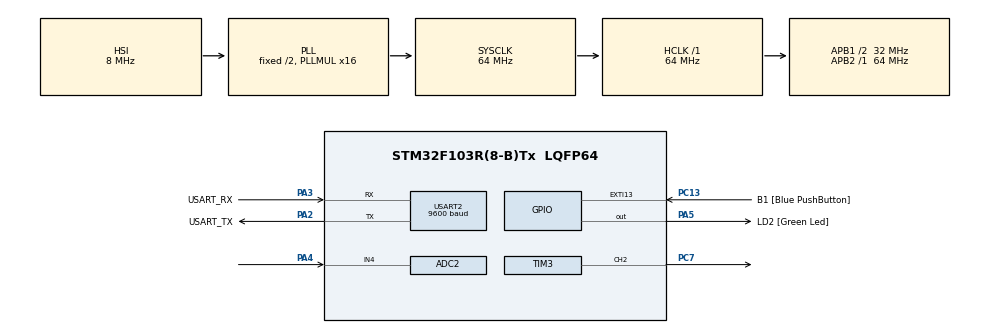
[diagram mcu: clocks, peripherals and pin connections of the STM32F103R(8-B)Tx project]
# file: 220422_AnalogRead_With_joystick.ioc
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ADC2.Channel-2\#ChannelRegularConversion=ADC_CHANNEL_4
ADC2.ContinuousConvMode=ENABLE
ADC2.NbrOfConversionFlag=1
ADC2.Rank-2\#ChannelRegularConversion=1
ADC2.SamplingTime-2\#ChannelRegularConversion=ADC_SAMPLETIME_1CYCLE_5
Mcu.Family=STM32F1
Mcu.Name=STM32F103R(8-B)Tx
Mcu.Package=LQFP64
NVIC.EXTI15_10_IRQn=true\:0\:0\:false\:false\:true\:true\:true\:true
NVIC.PriorityGroup=NVIC_PRIORITYGROUP_4
PA13.GPIO_Label=TMS
PA13.Mode=Serial_Wire
PA13.Signal=SYS_JTMS-SWDIO
PA14.GPIO_Label=TCK
PA14.Mode=Serial_Wire
PA14.Signal=SYS_JTCK-SWCLK
PA2.GPIO_Label=USART_TX
PA2.GPIO_Mode=GPIO_MODE_AF_PP
PA2.GPIO_PuPd=GPIO_NOPULL
PA2.GPIO_Speed=GPIO_SPEED_FREQ_LOW
PA2.Mode=Asynchronous
PA2.Signal=USART2_TX
PA3.GPIO_Label=USART_RX
PA3.GPIO_Mode=GPIO_MODE_AF_PP
PA3.GPIO_PuPd=GPIO_NOPULL
PA3.GPIO_Speed=GPIO_SPEED_FREQ_LOW
PA3.Mode=Asynchronous
PA3.Signal=USART2_RX
PA4.Signal=ADCx_IN4
PA5.GPIO_Label=LD2 [Green Led]
PA5.GPIO_ModeDefaultOutputPP=GPIO_MODE_OUTPUT_PP
PA5.GPIO_PuPd=GPIO_NOPULL
PA5.GPIO_Speed=GPIO_SPEED_FREQ_LOW
PA5.Signal=GPIO_Output
PB3.GPIO_Label=SWO
PB3.Signal=SYS_JTDO-TRACESWO
PC13-TAMPER-RTC.GPIO_Label=B1 [Blue PushButton]
PC13-TAMPER-RTC.GPIO_PuPd=GPIO_NOPULL
PC13-TAMPER-RTC.Signal=GPXTI13
PC14-OSC32_IN.Mode=LSE-External-Oscillator
PC14-OSC32_IN.Signal=RCC_OSC32_IN
PC15-OSC32_OUT.Mode=LSE-External-Oscillator
PC15-OSC32_OUT.Signal=RCC_OSC32_OUT
PC7.Signal=S_TIM3_CH2
PD0-OSC_IN.Mode=HSE-External-Clock-Source
PD0-OSC_IN.Signal=RCC_OSC_IN
PD1-OSC_OUT.Mode=HSE-External-Clock-Source
PD1-OSC_OUT.Signal=RCC_OSC_OUT
ProjectManager.HeapSize=0x200
ProjectManager.StackSize=0x400
ProjectManager.TargetToolchain=STM32CubeIDE
RCC.ADCPresc=RCC_ADCPCLK2_DIV8
RCC.AHBFreq_Value=64000000
RCC.APB1CLKDivider=RCC_HCLK_DIV2
RCC.APB1Freq_Value=32000000
RCC.APB1TimFreq_Value=64000000
RCC.APB2Freq_Value=64000000
RCC.APB2TimFreq_Value=64000000
RCC.HCLKFreq_Value=64000000
RCC.PLLMUL=RCC_PLL_MUL16
RCC.RTCClockSelection=RCC_RTCCLKSOURCE_LSE
RCC.SYSCLKFreq_VALUE=64000000
RCC.SYSCLKSource=RCC_SYSCLKSOURCE_PLLCLK
RCC.USBFreq_Value=64000000
SH.ADCx_IN4.0=ADC2_IN4,IN4
SH.S_TIM3_CH2.0=TIM3_CH2,PWM Generation2 CH2
TIM3.Channel-PWM\ Generation2\ CH2=TIM_CHANNEL_2
TIM3.Period=20000-1
TIM3.Prescaler=64
TIM3.Pulse-PWM\ Generation2\ CH2=1500-1
USART2.BaudRate=9600
USART2.VirtualMode=VM_ASYNC
board=NUCLEO-F103RB

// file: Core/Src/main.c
/* USER CODE BEGIN Header */
/**
  ******************************************************************************
  * @file           : main.c
  * @brief          : Main program body
  ******************************************************************************
  * @attention
  *
  * Copyright (c) 2022 STMicroelectronics.
  * All rights reserved.
  *
  * This software is licensed under terms that can be found in the LICENSE file
  * in the root directory of this software component.
  * If no LICENSE file comes with this software, it is provided AS-IS.
  *
  ******************************************************************************
  */
/* USER CODE END Header */
#include "main.h"

 ADC_HandleTypeDef hadc2;

TIM_HandleTypeDef htim3;

UART_HandleTypeDef huart2;

void SystemClock_Config(void);
static void MX_GPIO_Init(void);
static void MX_USART2_UART_Init(void);
static void MX_ADC2_Init(void);
static void MX_TIM3_Init(void);
/* USER CODE BEGIN PFP */
#ifdef __GNUC__
/* With GCC, small printf (option LD Linker->Libraries->Small printf
   set to 'Yes') calls __io_putchar() */
#define PUTCHAR_PROTOTYPE int __io_putchar(int ch)
#else
#define PUTCHAR_PROTOTYPE int fputc(int ch, FILE *f)
#endif /* __GNUC__ */
/* USER CODE BEGIN PFP */

/* USER CODE END PFP */

int main(void)
{
  /* USER CODE BEGIN 1 */
	uint32_t adcResult = 0;
	uint8_t RxBuffer[0xFF];
  /* USER CODE END 1 */

  /* MCU Configuration--------------------------------------------------------*/

  /* Reset of all peripherals, Initializes the Flash interface and the Systick. */
  HAL_Init();

  /* Configure the system clock */
  SystemClock_Config();

  /* Initialize all configured peripherals */
  MX_GPIO_Init();
  MX_USART2_UART_Init();
  MX_ADC2_Init();
  MX_TIM3_Init();
  /* USER CODE BEGIN 2 */
  HAL_TIM_PWM_Start(&htim3, TIM_CHANNEL_2);
  /* USER CODE END 2 */

  /* Infinite loop */
  /* USER CODE BEGIN WHILE */
  while (1)
  {

	  int num1;

	  HAL_ADC_Start(&hadc2);
	  HAL_ADC_PollForConversion(&hadc2, 100); // adc값을 받아?��?��까�? ??�?.
	  adcResult = HAL_ADC_GetValue(&hadc2); // 0~4095 // 2048 ~3000?
	  HAL_ADC_Stop(&hadc2);
	 // printf("%d\n\r",adcResult);

	  num1=adcResult/2; //0~1024. ?��?�� M3?�� FPU�? ?��?���?�? ?��?�� 계산 불�??��. ?��?��?�� �?. Float, Double ?��?���? ?��?��.
	  if(num1<1024){
		  num1= 1024-num1;
		  htim3.Instance->CCR2 = 1500-num1;
		  printf("%d\n\r",1500-num1);
	  }
	  else{
		  num1= num1-1024;
		  htim3.Instance->CCR2 = 1500+num1;
		  printf("%d\n\r",1500+num1);
	  }
	  htim3.Instance->CCR2 = 1500+num1;

    /* USER CODE END WHILE */

  }
}

void SystemClock_Config(void)
{
  RCC_OscInitTypeDef RCC_OscInitStruct = {0};
  RCC_ClkInitTypeDef RCC_ClkInitStruct = {0};
  RCC_PeriphCLKInitTypeDef PeriphClkInit = {0};

  /** Initializes the RCC Oscillators according to the specified parameters
  * in the RCC_OscInitTypeDef structure.
  */
  RCC_OscInitStruct.OscillatorType = RCC_OSCILLATORTYPE_HSI;
  RCC_OscInitStruct.HSIState = RCC_HSI_ON;
  RCC_OscInitStruct.HSICalibrationValue = RCC_HSICALIBRATION_DEFAULT;
  RCC_OscInitStruct.PLL.PLLState = RCC_PLL_ON;
  RCC_OscInitStruct.PLL.PLLSource = RCC_PLLSOURCE_HSI_DIV2;
  RCC_OscInitStruct.PLL.PLLMUL = RCC_PLL_MUL16;
  if (HAL_RCC_OscConfig(&RCC_OscInitStruct) != HAL_OK)
  {
    Error_Handler();
  }

  /** Initializes the CPU, AHB and APB buses clocks
  */
  RCC_ClkInitStruct.ClockType = RCC_CLOCKTYPE_HCLK|RCC_CLOCKTYPE_SYSCLK
                              |RCC_CLOCKTYPE_PCLK1|RCC_CLOCKTYPE_PCLK2;
  RCC_ClkInitStruct.SYSCLKSource = RCC_SYSCLKSOURCE_PLLCLK;
  RCC_ClkInitStruct.AHBCLKDivider = RCC_SYSCLK_DIV1;
  RCC_ClkInitStruct.APB1CLKDivider = RCC_HCLK_DIV2;
  RCC_ClkInitStruct.APB2CLKDivider = RCC_HCLK_DIV1;

  if (HAL_RCC_ClockConfig(&RCC_ClkInitStruct, FLASH_LATENCY_2) != HAL_OK)
  {
    Error_Handler();
  }
  PeriphClkInit.PeriphClockSelection = RCC_PERIPHCLK_ADC;
  PeriphClkInit.AdcClockSelection = RCC_ADCPCLK2_DIV8;
  if (HAL_RCCEx_PeriphCLKConfig(&PeriphClkInit) != HAL_OK)
  {
    Error_Handler();
  }
}

static void MX_ADC2_Init(void)
{

  ADC_ChannelConfTypeDef sConfig = {0};

  /** Common config
  */
  hadc2.Instance = ADC2;
  hadc2.Init.ScanConvMode = ADC_SCAN_DISABLE;
  hadc2.Init.ContinuousConvMode = ENABLE;
  hadc2.Init.DiscontinuousConvMode = DISABLE;
  hadc2.Init.ExternalTrigConv = ADC_SOFTWARE_START;
  hadc2.Init.DataAlign = ADC_DATAALIGN_RIGHT;
  hadc2.Init.NbrOfConversion = 1;
  if (HAL_ADC_Init(&hadc2) != HAL_OK)
  {
    Error_Handler();
  }

  /** Configure Regular Channel
  */
  sConfig.Channel = ADC_CHANNEL_4;
  sConfig.Rank = ADC_REGULAR_RANK_1;
  sConfig.SamplingTime = ADC_SAMPLETIME_1CYCLE_5;
  if (HAL_ADC_ConfigChannel(&hadc2, &sConfig) != HAL_OK)
  {
    Error_Handler();
  }

}

static void MX_TIM3_Init(void)
{

  TIM_MasterConfigTypeDef sMasterConfig = {0};
  TIM_OC_InitTypeDef sConfigOC = {0};

  htim3.Instance = TIM3;
  htim3.Init.Prescaler = 64;
  htim3.Init.CounterMode = TIM_COUNTERMODE_UP;
  htim3.Init.Period = 20000-1;
  htim3.Init.ClockDivision = TIM_CLOCKDIVISION_DIV1;
  htim3.Init.AutoReloadPreload = TIM_AUTORELOAD_PRELOAD_DISABLE;
  if (HAL_TIM_PWM_Init(&htim3) != HAL_OK)
  {
    Error_Handler();
  }
  sMasterConfig.MasterOutputTrigger = TIM_TRGO_RESET;
  sMasterConfig.MasterSlaveMode = TIM_MASTERSLAVEMODE_DISABLE;
  if (HAL_TIMEx_MasterConfigSynchronization(&htim3, &sMasterConfig) != HAL_OK)
  {
    Error_Handler();
  }
  sConfigOC.OCMode = TIM_OCMODE_PWM1;
  sConfigOC.Pulse = 1500-1;
  sConfigOC.OCPolarity = TIM_OCPOLARITY_HIGH;
  sConfigOC.OCFastMode = TIM_OCFAST_DISABLE;
  if (HAL_TIM_PWM_ConfigChannel(&htim3, &sConfigOC, TIM_CHANNEL_2) != HAL_OK)
  {
    Error_Handler();
  }
  HAL_TIM_MspPostInit(&htim3);

}

static void MX_USART2_UART_Init(void)
{

  huart2.Instance = USART2;
  huart2.Init.BaudRate = 9600;
  huart2.Init.WordLength = UART_WORDLENGTH_8B;
  huart2.Init.StopBits = UART_STOPBITS_1;
  huart2.Init.Parity = UART_PARITY_NONE;
  huart2.Init.Mode = UART_MODE_TX_RX;
  huart2.Init.HwFlowCtl = UART_HWCONTROL_NONE;
  huart2.Init.OverSampling = UART_OVERSAMPLING_16;
  if (HAL_UART_Init(&huart2) != HAL_OK)
  {
    Error_Handler();
  }

}

static void MX_GPIO_Init(void)
{
  GPIO_InitTypeDef GPIO_InitStruct = {0};

  /* GPIO Ports Clock Enable */
  __HAL_RCC_GPIOC_CLK_ENABLE();
  __HAL_RCC_GPIOD_CLK_ENABLE();
  __HAL_RCC_GPIOA_CLK_ENABLE();
  __HAL_RCC_GPIOB_CLK_ENABLE();

  /*Configure GPIO pin Output Level */
  HAL_GPIO_WritePin(LD2_GPIO_Port, LD2_Pin, GPIO_PIN_RESET);

  /*Configure GPIO pin : B1_Pin */
  GPIO_InitStruct.Pin = B1_Pin;
  GPIO_InitStruct.Mode = GPIO_MODE_IT_RISING;
  GPIO_InitStruct.Pull = GPIO_NOPULL;
  HAL_GPIO_Init(B1_GPIO_Port, &GPIO_InitStruct);

  /*Configure GPIO pin : LD2_Pin */
  GPIO_InitStruct.Pin = LD2_Pin;
  GPIO_InitStruct.Mode = GPIO_MODE_OUTPUT_PP;
  GPIO_InitStruct.Pull = GPIO_NOPULL;
  GPIO_InitStruct.Speed = GPIO_SPEED_FREQ_LOW;
  HAL_GPIO_Init(LD2_GPIO_Port, &GPIO_InitStruct);

  /* EXTI interrupt init*/
  HAL_NVIC_SetPriority(EXTI15_10_IRQn, 0, 0);
  HAL_NVIC_EnableIRQ(EXTI15_10_IRQn);

}

/* USER CODE BEGIN 4 */
PUTCHAR_PROTOTYPE
{
  /* Place your implementation of fputc here */
  /* e.g. write a character to the USART1 and Loop until the end of transmission */
  HAL_UART_Transmit(&huart2,(uint8_t *)&ch, 1, 0xFFFF);

  return ch;
}
/* USER CODE END 4 */

void Error_Handler(void)
{
  __disable_irq();
  while (1)
  {
  }
}
